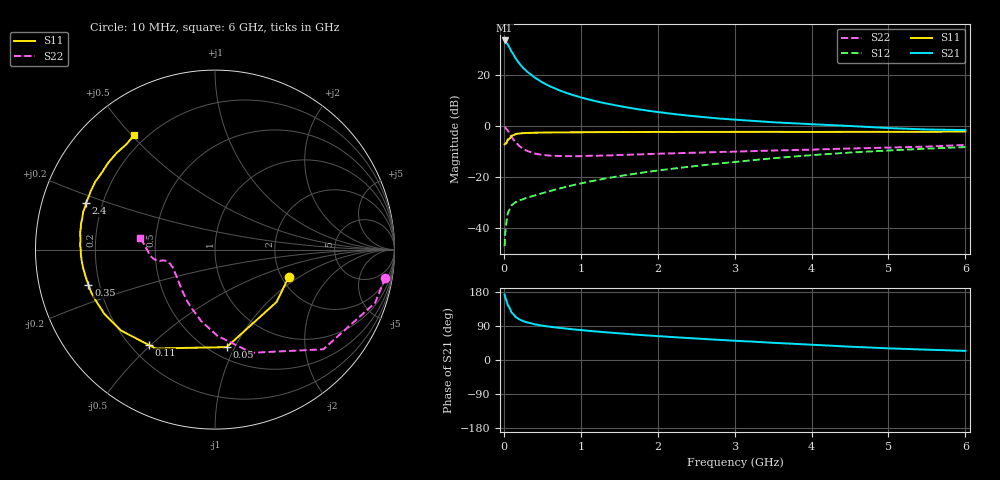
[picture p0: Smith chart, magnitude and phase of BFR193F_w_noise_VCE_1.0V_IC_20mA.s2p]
! (c) 2017  Infineon Technologies AG, Munich
! Infineon Technologies  Discrete & RF Semiconductors
! BFR193F
! VCE =  1.0 V,  IC =  20 mA
! Common Emitter S-Parameters:  Jan 2017
# GHz  S  MA  R  50
!  f  S11  S21  S12  S22
! GHz  MAG  ANG  MAG  ANG  MAG  ANG  MAG  ANG
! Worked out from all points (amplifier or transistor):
!   77 points, 10 MHz to 6 GHz, reference 50 ohm
!   highest |S21| = 33.5 dB at 10 MHz (marker M1)
!   |S21| within 3 dB of that: start of sweep to 76.32 MHz
!   unconditionally stable (mu >= 1): 1.105 GHz to 3.029 GHz
!   at 130 MHz: K = 0.31, MSG = 29.0 dB, |S12| = -30.4 dB
!   at 2.2 GHz: K = 1.05, MAG = 9.4 dB, |S12| = -16.7 dB
!   at 6 GHz: K = 0.91, MSG = 3.3 dB, |S12| = -8.3 dB
!   lowest NFmin = 1.04 dB at 450 MHz
!   S11 on the Smith chart (normalised r, x): 10 MHz: 2.18, -0.82; 50 MHz: 0.60, -0.93; 110 MHz: 0.27, -0.49; 350 MHz: 0.16, -0.13; 2.4 GHz: 0.14, +0.17; 6 GHz: 0.16, +0.51
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0.01  0.4381 -20.3  47.4 172.7  0.0044 84.8  0.962 -9.4
0.02  0.4503 -40.4  46.16 164.7  0.0085 79.5  0.9399 -18.4
0.05  0.5473 -83.2  39.92 145.6  0.0192 61.9  0.8202 -42.6
0.1  0.6427 -121.0  28.83 125.2  0.0277 47.9  0.6101 -70.5
0.11  0.6469 -124.8  27.3 123.5  0.0285 46.8  0.5801 -73.4
0.15  0.6909 -139.2  21.48 114.2  0.032 42.9  0.4798 -88.5
0.2  0.7127 -149.6  16.86 107.2  0.0348 39.8  0.4052 -101.0
0.25  0.722 -156.5  13.76 102.7  0.0366 41.4  0.3545 -111.0
0.3  0.73 -161.1  11.66 99.3  0.0394 43.1  0.3259 -118.6
0.35  0.7318 -164.4  10.25 97.1  0.0413 45.0  0.3055 -124.1
0.4  0.736 -167.7  8.851 94.2  0.0433 46.8  0.2884 -130.4
0.5  0.7416 -171.9  7.138 90.7  0.0481 49.9  0.2703 -138.5
0.6  0.7454 -175.1  5.986 87.7  0.0529 52.7  0.2617 -144.7
0.8  0.7477 -179.8  4.507 83.1  0.0634 57.0  0.2563 -153.0
1.1  0.7532 174.9  3.311 77.1  0.0804 61.8  0.2595 -159.7
1.5  0.7597 169.5  2.459 70.4  0.1037 64.7  0.2696 -164.8
2.1  0.7626 163.0  1.796 61.8  0.1397 66.5  0.2878 -167.8
2.4  0.7646 160.3  1.593 57.9  0.1579 66.7  0.2965 -168.3
3.1  0.7653 154.0  1.299 49.8  0.2034 66.0  0.317 -168.5
4.1  0.763 144.6  1.065 39.3  0.2739 62.2  0.3469 -171.7
5.1  0.7675 134.3  0.897 30.0  0.3361 56.3  0.3799 179.7
6  0.7809 125.5  0.83 24.1  0.3851 50.9  0.4243 170.9
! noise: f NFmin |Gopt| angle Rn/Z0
0.45  1.04  0.33  168  0.06
0.9  1.12  0.39  169  0.07
1.9  1.71  0.57  -171  0.06
2.4  2.01  0.61  -161  0.1
